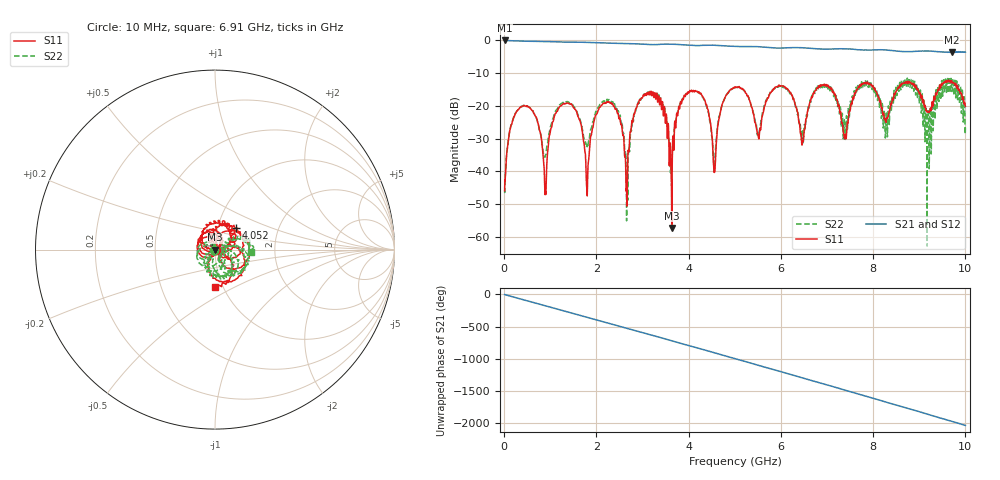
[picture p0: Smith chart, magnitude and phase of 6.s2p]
!Keysight Technologies,E5080B,MY59205177,A.15.75.32
!Date: Friday, February 23, 2024 03:25:51
!Correction: S11(Cdelta 2-Port  )
!S21(Cdelta 2-Port  )
!S12(Cdelta 2-Port  )
!S22(Cdelta 2-Port  )
!S2P File: Measurements: S11, S21, S12, S22:
# Hz S  dB  R 50
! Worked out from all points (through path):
!   10001 points, 10 MHz to 10 GHz, reference 50 ohm
!   highest |S21| = -0.02 dB at 10 MHz (marker M1); lowest = -3.7 dB at 9.701 GHz (marker M2)
!   group delay of S21, straight-line fit = 565 ps
!   lowest |S11| = -57.4 dB at 3.634 GHz (marker M3), VSWR 1.00, Z = 50.1 - j0.123 ohm
!   |S11| at or under -10 dB: start of sweep to end of sweep
!   |S22| runs from -62.9 to -11.2 dB; largest |S21 - S12| = 0.0014
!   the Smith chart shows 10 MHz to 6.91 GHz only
!   S11 on the Smith chart (normalised r, x): 10 MHz: 1.01, -0.00; 4.052 GHz: 1.22, +0.30; 6.91 GHz: 0.91, -0.40
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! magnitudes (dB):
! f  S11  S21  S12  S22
! 10 MHz  -45.9  0.0  0.0  -46.2
! 361.6 MHz  -20.3  -0.2  -0.2  -20.3
! 889.1 MHz  -46.5  -0.3  -0.3  -35.5
! 1.213 GHz  -20.1  -0.5  -0.5  -19.6
! 1.675 GHz  -26.2  -0.6  -0.6  -25.5
! 1.802 GHz  -47.0  -0.6  -0.6  -32.1
! 2.35 GHz  -19.3  -0.9  -0.9  -18.8
! 2.663 GHz  -50.6  -0.9  -0.9  -42.2
! 2.89 GHz  -19.4  -1.1  -1.1  -20.3
! 3.341 GHz  -17.5  -1.2  -1.2  -17.8
! 3.634 GHz  -57.4  -1.1  -1.1  -42.4
! 4.052 GHz  -15.6  -1.5  -1.5  -15.6
! 4.56 GHz  -40.2  -1.5  -1.5  -39.3
! 5.005 GHz  -14.2  -1.8  -1.8  -14.5
! 5.515 GHz  -29.7  -1.9  -1.9  -28.8
! 6.67 GHz  -17.3  -2.4  -2.4  -16.9
! 6.91 GHz  -13.7  -2.6  -2.6  -13.6
! 7.382 GHz  -29.9  -2.6  -2.6  -25.1
! 7.795 GHz  -13.1  -2.9  -2.9  -12.7
! 8.336 GHz  -22.5  -3.0  -3.0  -20.5
! 9.701 GHz  -12.3  -3.7  -3.7  -13.9
! 10 GHz  -20.1  -3.6  -3.6  -26.3
